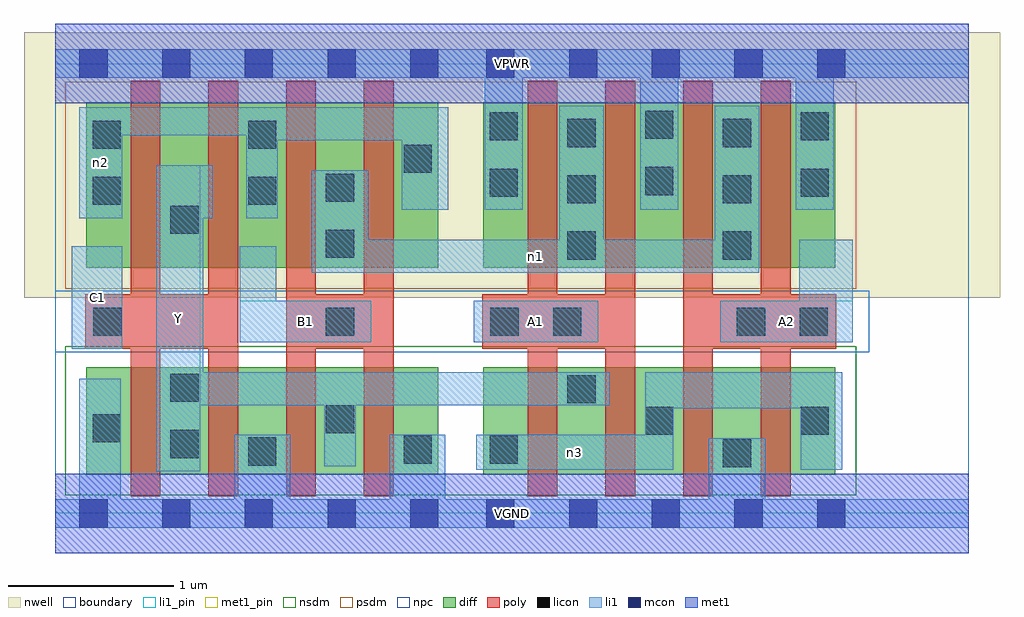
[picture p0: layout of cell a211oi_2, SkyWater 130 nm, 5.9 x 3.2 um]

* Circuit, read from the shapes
.subckt a211oi_2 A1 A2 B1 C1 VGND VPWR Y n1 n2 n3
XM1 Y C1 VGND VSUBS sky130_fd_pr__nfet_01v8 w=0.65 l=0.18 m=2
XM2 Y B1 VGND VSUBS sky130_fd_pr__nfet_01v8 w=0.65 l=0.18 m=2
XM3 Y A1 n3 VSUBS sky130_fd_pr__nfet_01v8 w=0.65 l=0.18 m=2
XM4 VGND A2 n3 VSUBS sky130_fd_pr__nfet_01v8 w=0.65 l=0.18 m=2
XM5 Y C1 n2 n4 sky130_fd_pr__pfet_01v8 w=1 l=0.18 m=2
XM6 n1 B1 n2 n4 sky130_fd_pr__pfet_01v8 w=1 l=0.18 m=2
XM7 n1 A1 VPWR n4 sky130_fd_pr__pfet_01v8 w=1 l=0.18 m=2
XM8 n1 A2 VPWR n4 sky130_fd_pr__pfet_01v8 w=1 l=0.18 m=2
.ends

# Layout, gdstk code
import gdstk
lib = gdstk.Library(unit=1e-6, precision=1e-09)
def R(c, l, rs):  # rectangles x0, y0, x1, y1
    for r in rs: c.add(gdstk.rectangle(r[:2], r[2:], *l))
def A(c, l, x, y, w, h, nx, ny, dx, dy):  # array of equal rectangles
    R(c, l, [(x+i*dx, y+j*dy, x+i*dx+w, y+j*dy+h) for i in range(nx) for j in range(ny)])
nwell = (64, 20)
diff = (65, 20)
poly = (66, 20)
licon = (66, 44)
li1_pin = (67, 16)
li1 = (67, 20)
mcon = (67, 44)
met1_pin = (68, 16)
met1 = (68, 20)
nsdm = (93, 44)
psdm = (94, 20)
npc = (95, 20)
boundary = (235, 4)

a211oi_2 = lib.new_cell('a211oi_2')
R(a211oi_2, nwell, [(-0.19,1.305,5.71,2.91), (0,1.305,5.52,2.91)])
R(a211oi_2, diff, [(0.185,0.235,2.315,0.885), (2.585,0.235,4.715,0.885), (0.185,1.485,2.315,2.485), (2.585,1.485,4.715,2.485)])
A(a211oi_2, poly, 0.455, 0.105, 0.18, 2.51, 4, 1, 0.47, 0)
A(a211oi_2, poly, 2.855, 0.105, 0.18, 2.51, 4, 1, 0.47, 0)
R(a211oi_2, poly, [(0.18,0.995,1.105,1.325), (1.395,0.995,2.045,1.325), (2.58,0.995,3.505,1.325), (3.795,0.995,4.72,1.325)])
A(a211oi_2, licon, 3.095, 1.535, 0.17, 0.17, 1, 3, 0, 0.34)
A(a211oi_2, licon, 4.035, 1.535, 0.17, 0.17, 1, 3, 0, 0.34)
R(a211oi_2, licon, [(4.035,0.28,4.205,0.45), (1.165,0.29,1.335,0.46), (2.105,0.3,2.275,0.47), (2.625,0.3,2.795,0.47), (0.695,0.335,0.865,0.505), (0.225,0.43,0.395,0.6), (3.565,0.475,3.735,0.645), (4.505,0.475,4.675,0.645), (1.635,0.485,1.805,0.655), (3.095,0.665,3.265,0.835), (0.695,0.675,0.865,0.845), (0.23,1.075,0.4,1.245), (1.635,1.075,1.805,1.245), (2.63,1.075,2.8,1.245), (3.01,1.075,3.18,1.245), (4.12,1.075,4.29,1.245), (4.5,1.075,4.67,1.245), (1.635,1.545,1.805,1.715), (0.695,1.69,0.865,1.86), (0.225,1.865,0.395,2.035), (1.165,1.865,1.335,2.035), (1.635,1.885,1.805,2.055), (2.625,1.915,2.795,2.085), (4.505,1.915,4.675,2.085), (3.565,1.925,3.735,2.095), (2.105,2.06,2.275,2.23), (0.225,2.205,0.395,2.375), (1.165,2.205,1.335,2.375), (2.625,2.255,2.795,2.425), (4.505,2.255,4.675,2.425), (3.565,2.265,3.735,2.435)])
R(a211oi_2, li1_pin, [(0.61,0.255,0.875,2.105), (0.1,0.995,0.405,1.615), (1.115,1.035,1.91,1.285), (2.53,1.035,3.28,1.285), (4.02,1.035,4.82,1.285)])
A(a211oi_2, li1, 2.595, 1.835, 0.23, 0.97, 3, 1, 0.94, 0)
R(a211oi_2, li1, [(0,-0.085,5.52,0.085), (0.145,-0.085,0.395,0.815), (1.08,-0.085,1.42,0.475), (2.02,-0.085,2.355,0.475), (3.95,-0.085,4.29,0.455), (0.61,0.255,0.875,2.105), (2.545,0.265,3.735,0.475), (3.565,0.265,3.735,0.855), (4.505,0.265,4.755,0.855), (1.625,0.285,1.815,0.855), (3.565,0.635,4.755,0.855), (0.61,0.655,3.35,0.855), (0.61,0.655,0.895,2.105), (0.1,0.995,0.405,1.615), (1.115,1.035,1.91,1.285), (1.115,1.035,1.335,1.615), (2.53,1.035,3.28,1.285), (4.02,1.035,4.82,1.285), (4.495,1.035,4.82,1.655), (1.55,1.455,4.255,1.655), (1.55,1.455,1.89,2.075), (3.045,1.455,3.315,2.465), (3.985,1.455,4.255,2.465), (0.145,1.785,0.405,2.455), (0.61,1.785,0.95,2.105), (1.155,1.785,1.345,2.455), (2.095,1.835,2.375,2.455), (1.155,2.255,2.375,2.455), (0.145,2.285,2.375,2.455), (0,2.635,5.52,2.805)])
A(a211oi_2, mcon, 0.145, -0.085, 0.17, 0.17, 5, 2, 0.5, 2.72)
A(a211oi_2, mcon, 2.605, -0.085, 0.17, 0.17, 5, 2, 0.5, 2.72)
R(a211oi_2, met1_pin, [(0,-0.24,5.52,0.24), (0,2.48,5.52,2.96)])
R(a211oi_2, met1, [(0,-0.24,5.52,0.24), (0,2.48,5.52,2.96)])
R(a211oi_2, nsdm, [(0.06,0.11,4.84,1.01)])
R(a211oi_2, psdm, [(0.06,1.36,4.84,2.61)])
R(a211oi_2, npc, [(0,0.975,4.92,1.345)])
R(a211oi_2, boundary, [(0,0,5.52,2.72)])
a211oi_2.add(gdstk.Label('A1', (2.905,1.16), layer=67, texttype=5))
a211oi_2.add(gdstk.Label('A2', (4.42,1.16), layer=67, texttype=5))
a211oi_2.add(gdstk.Label('B1', (1.512,1.16), layer=67, texttype=5))
a211oi_2.add(gdstk.Label('C1', (0.252,1.305), layer=67, texttype=5))
a211oi_2.add(gdstk.Label('Y', (0.742,1.18), layer=67, texttype=5))
a211oi_2.add(gdstk.Label('n3', (3.14,0.37), layer=67, texttype=5))
a211oi_2.add(gdstk.Label('n2', (0.275,2.12), layer=67, texttype=5))
a211oi_2.add(gdstk.Label('n1', (2.902,1.555), layer=67, texttype=5))
a211oi_2.add(gdstk.Label('VPWR', (2.76,2.72), layer=68, texttype=5))
a211oi_2.add(gdstk.Label('VGND', (2.76,0), layer=68, texttype=5))
a211oi_2.add(gdstk.Label('A1', (2.905,1.16), layer=67, texttype=16))
a211oi_2.add(gdstk.Label('A2', (4.42,1.16), layer=67, texttype=16))
a211oi_2.add(gdstk.Label('B1', (1.512,1.16), layer=67, texttype=16))
a211oi_2.add(gdstk.Label('C1', (0.252,1.305), layer=67, texttype=16))
a211oi_2.add(gdstk.Label('Y', (0.742,1.18), layer=67, texttype=16))
a211oi_2.add(gdstk.Label('VPWR', (2.76,2.72), layer=68, texttype=16))
a211oi_2.add(gdstk.Label('VGND', (2.76,0), layer=68, texttype=16))

lib.write_gds('a211oi_2.gds')
